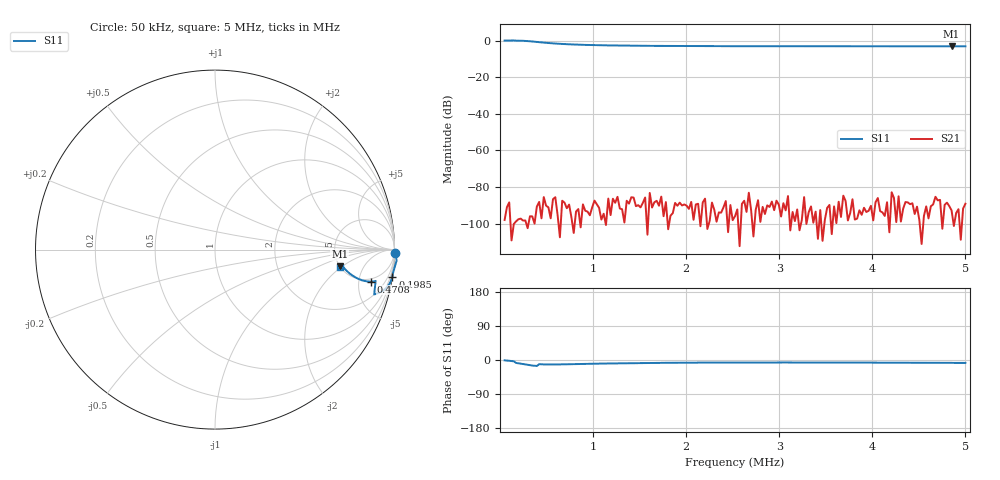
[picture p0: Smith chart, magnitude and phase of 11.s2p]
! NanoVNA-App by OneOfEleven et al v1.1.209 (+OD15)
! Date: 2024-07-30 12:37:17
! Start: 50kHz Stop: 5MHz Points: 201
! S-Parameter data: F S11 S21 S12 S22
# Hz S RI R 50
!  Frequency  S11_Real  S11_Imag  S21_Real  S21_Imag  S12_Real  S12_Imag  S22_Real  S22_Imag
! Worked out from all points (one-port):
!   201 points, 50 kHz to 5 MHz, reference 50 ohm
!   lowest |S11| = -3.1 dB at 4.851 MHz (marker M1), VSWR 5.69, Z = 250 - j90.9 ohm
!   |S11| at or under -10 dB: nowhere
!   S11 on the Smith chart (normalised r, x): 50 kHz: open; 198.5 kHz: 0, -13; 470.8 kHz: 4.36, -7.24; 5 MHz: 4.98, -1.85
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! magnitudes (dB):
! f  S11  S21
! 50 kHz  0.0  -98.0
! 74.75 kHz  0.0  -91.0
! 149 kHz  0.1  -100.2
! 173.8 kHz  0.0  -98.7
! 198.5 kHz  0.0  -97.6
! 248 kHz  -0.1  -98.3
! 297.5 kHz  -0.2  -102.5
! 470.8 kHz  -1.1  -85.5
! 569.8 kHz  -1.5  -86.6
! 668.8 kHz  -1.8  -87.5
! 767.8 kHz  -2.0  -96.5
! 891.5 kHz  -2.3  -89.5
! 1.089 MHz  -2.5  -97.8
! 1.263 MHz  -2.7  -85.3
! 1.486 MHz  -2.8  -89.9
! 1.708 MHz  -2.9  -90.2
! 2.104 MHz  -3.0  -89.5
! 2.525 MHz  -3.0  -96.0
! 3.366 MHz  -3.1  -99.5
! 4.183 MHz  -3.1  -104.7
! 4.851 MHz  -3.1  -92.8
! 5 MHz  -3.1  -89.1
